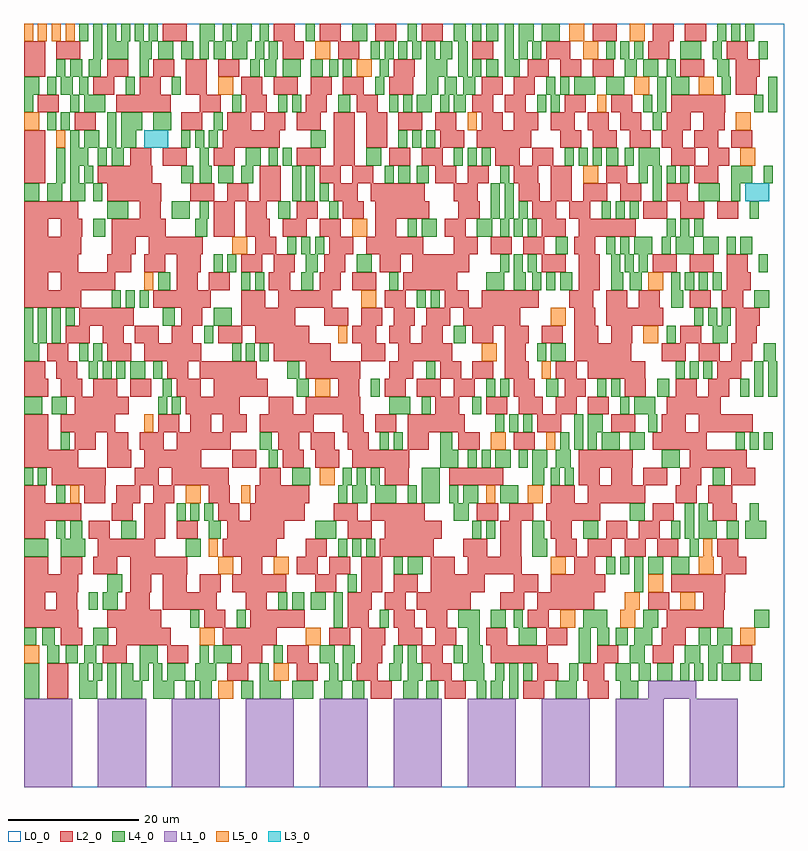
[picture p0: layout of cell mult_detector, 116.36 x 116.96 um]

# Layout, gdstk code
import gdstk
lib = gdstk.Library(unit=1e-6, precision=1e-09)
def R(c, l, rs):  # rectangles x0, y0, x1, y1
    for r in rs: c.add(gdstk.rectangle(r[:2], r[2:], *l))
def A(c, l, x, y, w, h, nx, ny, dx, dy):  # array of equal rectangles
    R(c, l, [(x+i*dx, y+j*dy, x+i*dx+w, y+j*dy+h) for i in range(nx) for j in range(ny)])
L0_0 = (0, 0)
L1_0 = (1, 0)
L2_0 = (2, 0)
L3_0 = (3, 0)
L4_0 = (4, 0)
L5_0 = (5, 0)

mult_detector = lib.new_cell('mult_detector')
R(mult_detector, L0_0, [(0,0,116.358,116.96)])
A(mult_detector, L1_0, 0, 2.72, 7.36, 2.72, 7, 4, 11.323, 2.72)
A(mult_detector, L1_0, 79.262, 2.72, 7.36, 2.72, 3, 4, 11.323, 2.72)
R(mult_detector, L1_0, [(0,0,7.36,2.72), (0,0,7.36,2.72), (0,0,7.36,2.72), (11.323,0,18.683,2.72), (11.323,0,18.683,2.72), (22.646,0,30.006,2.72), (22.646,0,30.006,2.72), (33.969,0,41.329,2.72), (33.969,0,41.329,2.72), (45.292,0,52.652,2.72), (45.292,0,52.652,2.72), (56.615,0,63.975,2.72), (56.615,0,63.975,2.72), (67.938,0,75.298,2.72), (67.938,0,75.298,2.72), (79.262,0,86.622,2.72), (79.262,0,86.622,2.72), (90.585,0,97.945,2.72), (90.585,0,97.945,2.72), (101.908,0,109.268,2.72), (101.908,0,109.268,2.72), (95.538,13.6,102.898,16.32)])
A(mult_detector, L2_0, 86.338, 13.6, 3.22, 2.72, 1, 3, 0, 43.52)
A(mult_detector, L2_0, 62.277, 29.92, 8.28, 2.72, 3, 1, 18.4, 0)
A(mult_detector, L2_0, 41.754, 32.64, 3.22, 2.72, 3, 1, 4.954, 0)
A(mult_detector, L2_0, 53.785, 54.4, 3.22, 2.72, 1, 3, 0, 29.92)
A(mult_detector, L2_0, 79.262, 68, 3.22, 2.72, 3, 1, 10.615, 0)
A(mult_detector, L2_0, 45.292, 76.16, 3.22, 2.72, 1, 3, 0, 8.16)
A(mult_detector, L2_0, 0, 92.48, 3.22, 2.72, 1, 3, 0, 2.72)
A(mult_detector, L2_0, 47.415, 95.2, 3.22, 2.72, 1, 3, 0, 2.72)
A(mult_detector, L2_0, 10.615, 106.08, 3.22, 2.72, 3, 1, 7.077, 0)
A(mult_detector, L2_0, 19.815, 108.8, 3.22, 2.72, 3, 1, 4.954, 0)
A(mult_detector, L2_0, 77.138, 108.8, 3.22, 2.72, 3, 1, 4.954, 0)
R(mult_detector, L2_0, [(3.538,13.6,6.758,16.32), (53.077,13.6,56.297,16.32), (64.4,13.6,67.62,16.32), (76.431,13.6,79.651,16.32), (3.538,16.32,6.758,19.04), (31.138,16.32,34.358,19.04), (41.754,16.32,44.974,19.04), (50.954,16.32,54.174,19.04), (62.277,16.32,65.497,19.04), (78.554,16.32,81.774,19.04), (85.631,16.32,88.851,19.04), (12.031,19.04,15.711,21.76), (21.938,19.04,25.158,21.76), (33.262,19.04,36.482,21.76), (40.338,19.04,43.558,21.76), (51.662,19.04,54.882,21.76), (60.862,19.04,64.082,21.76), (71.477,19.04,80.217,21.76), (87.754,19.04,90.974,21.76), (96.246,19.04,99.466,21.76), (108.277,19.04,111.497,21.76), (5.662,21.76,8.882,24.48), (14.154,21.76,22.434,24.48), (30.431,21.76,38.711,24.48), (46.708,21.76,49.928,24.48), (51.662,21.76,55.342,24.48), (57.323,21.76,61.003,24.48), (62.985,21.76,66.205,24.48), (70.769,21.76,73.989,24.48), (79.969,21.76,83.189,24.48), (97.662,21.76,101.342,24.48), (0,24.48,8.28,27.2), (12.738,24.48,21.018,27.2), (27.6,24.48,30.82,27.2), (34.677,24.48,42.957,27.2), (49.538,24.48,52.758,27.2), (56.615,24.48,59.835,27.2), (61.569,24.48,64.789,27.2), (77.138,24.48,80.358,27.2), (98.369,24.48,107.109,27.2), (0,27.2,3.22,29.92), (4.954,27.2,8.174,29.92), (15.569,27.2,19.249,29.92), (21.231,27.2,29.511,29.92), (33.969,27.2,37.189,29.92), (49.538,27.2,53.218,29.92), (55.2,27.2,58.42,29.92), (60.154,27.2,68.434,29.92), (72.892,27.2,76.572,29.92), (78.554,27.2,87.294,29.92), (95.538,27.2,98.758,29.92), (104.031,27.2,107.251,29.92), (0,29.92,8.28,32.64), (16.277,29.92,19.497,32.64), (21.231,29.92,24.911,32.64), (26.892,29.92,30.112,32.64), (31.846,29.92,40.126,32.64), (44.585,29.92,47.805,32.64), (51.662,29.92,54.882,32.64), (56.615,29.92,60.295,32.64), (75.015,29.92,78.695,32.64), (0,32.64,3.68,35.36), (5.662,32.64,8.882,35.36), (10.615,32.64,14.295,35.36), (16.277,32.64,25.017,35.36), (33.262,32.64,36.482,35.36), (62.277,32.64,65.957,35.36), (67.938,32.64,76.218,35.36), (84.215,32.64,87.435,35.36), (106.862,32.64,110.542,35.36), (11.323,35.36,20.063,38.08), (30.431,35.36,38.711,38.08), (43.169,35.36,46.389,38.08), (54.492,35.36,62.772,38.08), (67.231,35.36,70.911,38.08), (72.892,35.36,76.112,38.08), (81.385,35.36,84.605,38.08), (86.338,35.36,90.018,38.08), (92,35.36,95.22,38.08), (96.954,35.36,100.174,38.08), (106.154,35.36,109.374,38.08), (0,38.08,3.22,40.8), (9.908,38.08,13.128,40.8), (18.4,38.08,21.62,40.8), (23.354,38.08,26.574,40.8), (31.138,38.08,39.878,40.8), (49.538,38.08,53.218,40.8), (55.2,38.08,63.94,40.8), (72.892,38.08,76.112,40.8), (80.677,38.08,83.897,40.8), (89.169,38.08,92.389,40.8), (94.123,38.08,97.343,40.8), (0,40.8,8.74,43.52), (13.446,40.8,16.666,43.52), (18.4,40.8,21.62,43.52), (29.723,40.8,32.943,43.52), (34.677,40.8,42.957,43.52), (47.415,40.8,51.095,43.52), (53.077,40.8,61.357,43.52), (69.354,40.8,72.574,43.52), (74.308,40.8,77.988,43.52), (79.969,40.8,88.249,43.52), (96.246,40.8,99.466,43.52), (105.446,40.8,109.126,43.52), (0,43.52,3.22,46.24), (9.2,43.52,12.42,46.24), (14.154,43.52,17.834,46.24), (19.815,43.52,23.035,46.24), (28.308,43.52,31.528,46.24), (35.385,43.52,43.665,46.24), (80.677,43.52,84.357,46.24), (86.338,43.52,95.078,46.24), (99.785,43.52,103.005,46.24), (104.738,43.52,108.418,46.24), (4.246,46.24,12.526,48.96), (16.985,46.24,20.665,48.96), (22.646,46.24,31.386,48.96), (36.092,46.24,39.312,48.96), (55.2,46.24,58.88,48.96), (65.108,46.24,73.388,48.96), (84.923,46.24,88.143,48.96), (89.877,46.24,93.097,48.96), (94.831,46.24,98.511,48.96), (100.492,46.24,103.712,48.96), (108.277,46.24,111.957,48.96), (0,48.96,8.28,51.68), (12.738,48.96,16.418,51.68), (18.4,48.96,27.14,51.68), (31.846,48.96,35.526,51.68), (39.631,48.96,42.851,51.68), (44.585,48.96,48.265,51.68), (50.246,48.96,58.986,51.68), (84.923,48.96,93.203,51.68), (101.908,48.96,110.648,51.68), (0,51.68,3.68,54.4), (7.785,51.68,11.005,54.4), (12.738,51.68,15.958,54.4), (17.692,51.68,21.372,54.4), (23.354,51.68,31.634,54.4), (38.923,51.68,42.143,54.4), (43.877,51.68,47.557,54.4), (49.538,51.68,52.758,54.4), (58.738,51.68,61.958,54.4), (66.523,51.68,69.743,54.4), (75.015,51.68,78.235,54.4), (96.246,51.68,104.526,54.4), (0,54.4,3.68,57.12), (5.662,54.4,13.942,57.12), (20.523,54.4,23.743,57.12), (25.477,54.4,28.697,57.12), (30.431,54.4,34.111,57.12), (36.092,54.4,44.372,57.12), (48.831,54.4,52.051,57.12), (58.738,54.4,67.478,57.12), (78.554,54.4,82.234,57.12), (89.877,54.4,93.557,57.12), (97.662,54.4,101.342,57.12), (103.323,54.4,111.603,57.12), (7.785,57.12,16.065,59.84), (24.769,57.12,33.049,59.84), (37.508,57.12,41.188,59.84), (43.169,57.12,51.449,59.84), (62.985,57.12,66.665,59.84), (70.769,57.12,73.989,59.84), (75.723,57.12,79.403,59.84), (81.385,57.12,84.605,59.84), (98.369,57.12,106.649,59.84), (0,59.84,3.68,62.56), (5.662,59.84,8.882,62.56), (10.615,59.84,14.295,62.56), (16.277,59.84,19.497,62.56), (23.354,59.84,27.034,62.56), (29.015,59.84,37.295,62.56), (48.123,59.84,51.343,62.56), (55.2,59.84,58.42,62.56), (60.154,59.84,63.834,62.56), (65.815,59.84,69.035,62.56), (75.015,59.84,78.235,62.56), (82.8,59.84,86.02,62.56), (92,59.84,95.22,62.56), (99.785,59.84,103.005,62.56), (104.738,59.84,107.958,62.56), (0,62.56,3.22,65.28), (4.954,62.56,8.174,65.28), (21.938,62.56,25.158,65.28), (26.892,62.56,35.632,65.28), (43.169,62.56,51.449,65.28), (55.908,62.56,59.588,65.28), (63.692,62.56,66.912,65.28), (68.646,62.56,71.866,65.28), (73.6,62.56,77.28,65.28), (81.385,62.56,84.605,65.28), (86.338,62.56,95.078,65.28), (106.154,62.56,109.834,65.28), (3.538,65.28,6.758,68), (12.738,65.28,16.418,68), (18.4,65.28,27.14,68), (38.215,65.28,46.955,68), (51.662,65.28,55.342,68), (57.323,65.28,65.603,68), (73.6,65.28,76.82,68), (84.215,65.28,92.955,68), (97.662,65.28,101.342,68), (103.323,65.28,106.543,68), (108.277,65.28,111.497,68), (6.369,68,10.049,70.72), (12.031,68,15.251,70.72), (16.985,68,20.665,70.72), (22.646,68,25.866,70.72), (29.723,68,33.403,70.72), (35.385,68,43.665,70.72), (50.246,68,53.926,70.72), (55.908,68,59.128,70.72), (60.862,68,64.082,70.72), (68.646,68,71.866,70.72), (73.6,68,77.28,70.72), (84.215,68,87.895,70.72), (108.985,68,112.205,70.72), (8.492,70.72,16.772,73.44), (24.062,70.72,27.282,73.44), (33.262,70.72,41.542,73.44), (46,70.72,49.68,73.44), (51.662,70.72,54.882,73.44), (56.615,70.72,59.835,73.44), (61.569,70.72,65.249,73.44), (67.231,70.72,75.971,73.44), (84.215,70.72,87.435,73.44), (89.169,70.72,97.909,73.44), (108.985,70.72,112.665,73.44), (0,73.44,8.74,76.16), (19.815,73.44,28.555,76.16), (33.262,73.44,36.942,76.16), (38.923,73.44,47.203,76.16), (55.2,73.44,58.42,76.16), (64.4,73.44,68.08,76.16), (70.062,73.44,78.802,76.16), (83.508,73.44,87.188,76.16), (89.169,73.44,92.389,76.16), (94.123,73.44,97.343,76.16), (101.908,73.44,105.128,76.16), (106.862,73.44,110.082,76.16), (0,76.16,3.68,78.88), (5.662,76.16,13.942,78.88), (23.354,76.16,26.574,78.88), (28.308,76.16,31.528,78.88), (37.508,76.16,40.728,78.88), (50.246,76.16,53.926,78.88), (58.031,76.16,66.311,78.88), (84.923,76.16,88.143,78.88), (107.569,76.16,111.249,78.88), (0,78.88,8.28,81.6), (12.738,78.88,16.418,81.6), (18.4,78.88,21.62,81.6), (23.354,78.88,27.034,81.6), (33.262,78.88,36.482,81.6), (38.215,78.88,41.435,81.6), (46,78.88,49.22,81.6), (54.492,78.88,57.712,81.6), (59.446,78.88,68.186,81.6), (79.262,78.88,82.942,81.6), (84.923,78.88,88.143,81.6), (96.246,78.88,99.926,81.6), (101.908,78.88,105.588,81.6), (107.569,78.88,110.789,81.6), (0,81.6,8.74,84.32), (13.446,81.6,17.126,84.32), (19.108,81.6,27.388,84.32), (35.385,81.6,38.605,84.32), (46.708,81.6,50.388,84.32), (52.369,81.6,61.109,84.32), (65.815,81.6,69.495,84.32), (71.477,81.6,74.697,84.32), (76.431,81.6,79.651,84.32), (84.215,81.6,87.435,84.32), (0,84.32,3.68,87.04), (5.662,84.32,8.882,87.04), (13.446,84.32,21.726,87.04), (29.015,84.32,32.235,87.04), (33.969,84.32,37.649,87.04), (39.631,84.32,43.311,87.04), (64.4,84.32,67.62,87.04), (79.262,84.32,82.942,87.04), (84.923,84.32,93.663,87.04), (0,87.04,8.28,89.76), (17.692,87.04,20.912,89.76), (29.015,87.04,32.235,89.76), (33.969,87.04,37.189,89.76), (41.754,87.04,44.974,89.76), (48.831,87.04,52.051,89.76), (53.785,87.04,62.065,89.76), (66.523,87.04,69.743,89.76), (77.846,87.04,81.526,89.76), (83.508,87.04,86.728,89.76), (94.831,87.04,98.511,89.76), (100.492,87.04,104.172,89.76), (106.154,87.04,109.374,89.76), (12.738,89.76,21.018,92.48), (25.477,89.76,29.157,92.48), (31.138,89.76,34.358,92.48), (36.092,89.76,39.312,92.48), (47.415,89.76,51.095,92.48), (53.077,89.76,61.357,92.48), (65.815,89.76,69.495,92.48), (75.723,89.76,78.943,92.48), (80.677,89.76,83.897,92.48), (85.631,89.76,89.311,92.48), (91.292,89.76,94.512,92.48), (98.369,89.76,101.589,92.48), (11.323,92.48,19.603,95.2), (36.092,92.48,39.312,95.2), (50.246,92.48,53.466,95.2), (62.985,92.48,66.205,95.2), (67.938,92.48,71.158,95.2), (75.015,92.48,78.695,95.2), (80.677,92.48,83.897,95.2), (89.169,92.48,92.389,95.2), (102.615,92.48,106.295,95.2), (16.277,95.2,19.497,97.92), (21.231,95.2,24.911,97.92), (29.015,95.2,32.235,97.92), (41.754,95.2,45.434,97.92), (55.908,95.2,59.128,97.92), (60.862,95.2,64.082,97.92), (72.185,95.2,75.865,97.92), (77.846,95.2,81.066,97.92), (99.077,95.2,102.757,97.92), (104.738,95.2,107.958,97.92), (30.431,97.92,39.171,100.64), (52.369,97.92,55.589,100.64), (63.692,97.92,67.372,100.64), (69.354,97.92,77.634,100.64), (82.092,97.92,85.312,100.64), (87.046,97.92,90.726,100.64), (92.708,97.92,95.928,100.64), (97.662,97.92,100.882,100.64), (102.615,97.92,106.295,100.64), (108.277,97.92,111.497,100.64), (7.785,100.64,11.005,103.36), (24.062,100.64,27.282,103.36), (31.138,100.64,34.818,103.36), (36.8,100.64,40.02,103.36), (41.754,100.64,45.434,103.36), (52.369,100.64,55.589,103.36), (57.323,100.64,61.003,103.36), (62.985,100.64,66.205,103.36), (70.062,100.64,73.282,103.36), (75.015,100.64,78.695,103.36), (80.677,100.64,84.357,103.36), (91.292,100.64,94.512,103.36), (98.369,100.64,102.049,103.36), (104.031,100.64,107.251,103.36), (2.123,103.36,5.343,106.08), (14.154,103.36,22.434,106.08), (26.892,103.36,30.112,106.08), (33.969,103.36,37.189,106.08), (43.169,103.36,46.389,106.08), (50.954,103.36,54.174,106.08), (68.646,103.36,71.866,106.08), (73.6,103.36,76.82,106.08), (82.8,103.36,86.02,106.08), (89.877,103.36,93.097,106.08), (99.077,103.36,107.357,106.08), (33.262,106.08,36.482,108.8), (38.215,106.08,41.895,108.8), (43.877,106.08,47.097,108.8), (48.831,106.08,52.051,108.8), (55.908,106.08,59.588,108.8), (70.062,106.08,73.282,108.8), (75.015,106.08,78.235,108.8), (108.985,106.08,112.205,108.8), (0,108.8,3.22,111.52), (12.738,108.8,15.958,111.52), (56.615,108.8,59.835,111.52), (100.492,108.8,104.172,111.52), (108.985,108.8,112.665,111.52), (0,111.52,3.22,114.24), (4.954,111.52,8.634,114.24), (39.631,111.52,42.851,114.24), (48.123,111.52,51.343,114.24), (68.646,111.52,71.866,114.24), (79.969,111.52,83.649,114.24), (95.538,111.52,98.758,114.24), (107.569,111.52,110.789,114.24), (21.231,114.24,24.911,116.96), (38.215,114.24,41.435,116.96), (45.292,114.24,48.512,116.96), (60.862,114.24,64.082,116.96), (87.046,114.24,90.726,116.96), (96.246,114.24,99.466,116.96), (101.2,114.24,104.42,116.96)])
R(mult_detector, L3_0, [(110.4,89.76,114.08,92.48), (18.4,97.92,22.08,100.64)])
A(mult_detector, L4_0, 8.492, 16.32, 1.38, 2.72, 3, 2, 2.123, 97.92)
A(mult_detector, L4_0, 72.185, 16.32, 1.38, 2.72, 3, 2, 2.123, 38.08)
A(mult_detector, L4_0, 100.492, 16.32, 1.38, 2.72, 3, 1, 2.123, 0)
A(mult_detector, L4_0, 3.538, 19.04, 1.84, 2.72, 3, 1, 2.831, 0)
A(mult_detector, L4_0, 84.923, 21.76, 1.84, 2.72, 3, 1, 2.831, 0)
A(mult_detector, L4_0, 89.169, 32.64, 1.38, 2.72, 3, 2, 2.123, 78.88)
A(mult_detector, L4_0, 48.123, 35.36, 1.38, 2.72, 3, 1, 2.123, 0)
A(mult_detector, L4_0, 23.354, 40.8, 1.38, 2.72, 3, 1, 2.123, 0)
A(mult_detector, L4_0, 48.831, 46.24, 1.38, 2.72, 3, 1, 2.123, 0)
A(mult_detector, L4_0, 82.092, 51.68, 1.38, 2.72, 3, 1, 2.123, 0)
A(mult_detector, L4_0, 108.985, 51.68, 1.38, 2.72, 3, 1, 2.123, 0)
A(mult_detector, L4_0, 109.692, 59.84, 1.38, 2.72, 3, 1, 2.123, 0)
A(mult_detector, L4_0, 9.908, 62.56, 1.38, 2.72, 3, 1, 2.123, 0)
A(mult_detector, L4_0, 99.785, 62.56, 1.38, 2.72, 3, 1, 2.123, 0)
A(mult_detector, L4_0, 31.846, 65.28, 1.38, 2.72, 3, 1, 2.123, 0)
A(mult_detector, L4_0, 0, 68, 1.38, 2.72, 3, 1, 2.123, 0)
A(mult_detector, L4_0, 0, 70.72, 1.38, 2.72, 4, 1, 2.123, 0)
A(mult_detector, L4_0, 13.446, 73.44, 1.38, 2.72, 3, 1, 2.123, 0)
A(mult_detector, L4_0, 99.077, 76.16, 1.38, 2.72, 4, 1, 2.123, 0)
A(mult_detector, L4_0, 72.892, 78.88, 1.38, 2.72, 3, 2, 2.123, 5.44)
A(mult_detector, L4_0, 89.877, 78.88, 1.38, 2.72, 3, 1, 2.123, 0)
A(mult_detector, L4_0, 98.369, 84.32, 1.38, 2.72, 3, 1, 2.123, 0)
A(mult_detector, L4_0, 71.477, 87.04, 1.38, 2.72, 3, 1, 2.123, 0)
A(mult_detector, L4_0, 88.462, 87.04, 1.38, 2.72, 3, 1, 2.123, 0)
A(mult_detector, L4_0, 41.046, 89.76, 1.38, 2.72, 3, 1, 2.123, 0)
A(mult_detector, L4_0, 4.954, 92.48, 1.38, 2.72, 3, 1, 2.123, 0)
A(mult_detector, L4_0, 94.123, 92.48, 1.38, 2.72, 4, 1, 2.123, 0)
A(mult_detector, L4_0, 82.8, 95.2, 1.38, 2.72, 3, 1, 2.123, 0)
A(mult_detector, L4_0, 24.062, 97.92, 1.38, 2.72, 3, 1, 2.123, 0)
A(mult_detector, L4_0, 57.323, 97.92, 1.38, 2.72, 3, 1, 2.123, 0)
A(mult_detector, L4_0, 8.492, 106.08, 1.38, 2.72, 3, 1, 7.077, 0)
A(mult_detector, L4_0, 61.569, 106.08, 1.84, 2.72, 3, 1, 2.831, 0)
A(mult_detector, L4_0, 53.077, 111.52, 1.38, 2.72, 5, 1, 2.123, 0)
A(mult_detector, L4_0, 73.6, 111.52, 1.38, 2.72, 3, 1, 2.123, 0)
A(mult_detector, L4_0, 14.862, 114.24, 1.38, 2.72, 3, 1, 2.123, 0)
A(mult_detector, L4_0, 106.154, 114.24, 1.38, 2.72, 3, 1, 2.123, 0)
R(mult_detector, L4_0, [(0,13.6,2.3,16.32), (8.492,13.6,11.252,16.32), (12.738,13.6,14.118,16.32), (14.862,13.6,18.082,16.32), (19.815,13.6,23.035,16.32), (24.769,13.6,26.149,16.32), (26.892,13.6,28.732,16.32), (33.262,13.6,35.102,16.32), (36.092,13.6,39.312,16.32), (41.046,13.6,44.266,16.32), (46,13.6,48.76,16.32), (50.246,13.6,52.086,16.32), (58.031,13.6,60.331,16.32), (61.569,13.6,63.409,16.32), (69.354,13.6,70.734,16.32), (71.477,13.6,73.317,16.32), (74.308,13.6,75.688,16.32), (81.385,13.6,84.605,16.32), (91.292,13.6,94.052,16.32), (0,16.32,2.3,19.04), (14.862,16.32,16.702,19.04), (17.692,16.32,19.072,19.04), (19.815,16.32,21.195,19.04), (21.938,16.32,24.698,19.04), (26.185,16.32,29.405,19.04), (36.092,16.32,37.472,19.04), (46.708,16.32,48.088,19.04), (48.831,16.32,50.211,19.04), (55.908,16.32,57.748,19.04), (58.738,16.32,61.038,19.04), (67.231,16.32,70.451,19.04), (83.508,16.32,84.888,19.04), (90.585,16.32,92.885,19.04), (94.123,16.32,95.963,19.04), (96.954,16.32,99.254,19.04), (106.862,16.32,109.622,19.04), (111.108,16.32,112.948,19.04), (17.692,19.04,20.452,21.76), (26.892,19.04,28.272,21.76), (29.015,19.04,31.775,21.76), (38.215,19.04,39.595,21.76), (45.292,19.04,47.592,21.76), (48.831,19.04,50.671,21.76), (56.615,19.04,57.995,21.76), (58.738,19.04,60.118,21.76), (65.815,19.04,67.195,21.76), (67.938,19.04,70.238,21.76), (84.923,19.04,86.763,21.76), (92.708,19.04,95.008,21.76), (101.2,19.04,103.5,21.76), (104.738,19.04,107.038,21.76), (0,21.76,1.84,24.48), (2.831,21.76,4.671,24.48), (10.615,21.76,12.915,24.48), (67.938,21.76,69.778,24.48), (75.723,21.76,78.483,24.48), (93.415,21.76,96.175,24.48), (103.323,21.76,105.163,24.48), (106.154,21.76,108.454,24.48), (25.477,24.48,26.857,27.2), (32.554,24.48,33.934,27.2), (47.415,24.48,48.795,27.2), (54.492,24.48,55.872,27.2), (66.523,24.48,69.743,27.2), (71.477,24.48,73.777,27.2), (75.015,24.48,76.395,27.2), (85.631,24.48,89.311,27.2), (94.831,24.48,97.131,27.2), (111.815,24.48,114.115,27.2), (9.908,27.2,11.288,29.92), (12.031,27.2,14.331,29.92), (38.923,27.2,40.303,29.92), (41.046,27.2,42.886,29.92), (43.877,27.2,46.177,29.92), (47.415,27.2,48.795,29.92), (12.738,29.92,15.038,32.64), (49.538,29.92,50.918,32.64), (93.415,29.92,94.795,32.64), (56.615,32.64,57.995,35.36), (58.738,32.64,61.038,35.36), (95.538,32.64,97.838,35.36), (99.077,32.64,101.837,35.36), (0,35.36,3.68,38.08), (5.662,35.36,9.342,38.08), (24.769,35.36,27.069,38.08), (77.846,35.36,80.146,38.08), (101.908,35.36,103.288,38.08), (4.954,38.08,6.334,40.8), (7.077,38.08,8.917,40.8), (14.862,38.08,17.162,40.8), (28.308,38.08,30.148,40.8), (44.585,38.08,47.805,40.8), (68.646,38.08,70.026,40.8), (70.769,38.08,72.149,40.8), (77.846,38.08,79.686,40.8), (85.631,38.08,87.931,40.8), (99.077,38.08,100.457,40.8), (101.2,38.08,102.58,40.8), (103.323,38.08,106.083,40.8), (107.569,38.08,109.409,40.8), (110.4,38.08,113.62,40.8), (65.815,40.8,68.115,43.52), (92.708,40.8,95.008,43.52), (101.2,40.8,102.58,43.52), (103.323,40.8,104.703,43.52), (111.108,40.8,112.488,43.52), (4.954,43.52,6.334,46.24), (48.123,43.52,49.503,46.24), (50.246,43.52,52.546,46.24), (53.785,43.52,57.005,46.24), (58.738,43.52,60.118,46.24), (60.862,43.52,63.622,46.24), (65.108,43.52,66.488,46.24), (67.231,43.52,69.531,46.24), (72.892,43.52,75.652,46.24), (0,46.24,1.38,48.96), (2.123,46.24,3.503,48.96), (41.046,46.24,43.806,48.96), (60.862,46.24,63.622,48.96), (77.846,46.24,79.686,48.96), (80.677,46.24,82.057,48.96), (82.8,46.24,84.18,48.96), (105.446,46.24,107.286,48.96), (37.508,48.96,38.888,51.68), (63.692,48.96,66.452,51.68), (67.938,48.96,69.318,51.68), (70.062,48.96,71.442,51.68), (72.185,48.96,74.485,51.68), (75.723,48.96,77.103,51.68), (77.846,48.96,80.146,51.68), (81.385,48.96,83.685,51.68), (97.662,48.96,100.422,51.68), (5.662,51.68,7.042,54.4), (36.092,51.68,37.932,54.4), (54.492,51.68,55.872,54.4), (56.615,51.68,57.995,54.4), (63.692,51.68,65.532,54.4), (88.462,51.68,91.222,54.4), (92.708,51.68,95.008,54.4), (84.215,54.4,85.595,57.12), (86.338,54.4,88.638,57.12), (95.538,54.4,96.918,57.12), (0,57.12,2.76,59.84), (4.246,57.12,6.546,59.84), (20.523,57.12,21.903,59.84), (22.646,57.12,24.026,59.84), (55.908,57.12,59.128,59.84), (60.862,57.12,62.242,59.84), (68.646,57.12,70.026,59.84), (91.292,57.12,92.672,59.84), (93.415,57.12,96.635,59.84), (21.231,59.84,22.611,62.56), (41.754,59.84,43.594,62.56), (53.077,59.84,54.457,62.56), (70.769,59.84,72.149,62.56), (72.892,59.84,74.272,62.56), (79.969,59.84,81.809,62.56), (87.754,59.84,89.134,62.56), (89.877,59.84,91.257,62.56), (96.954,59.84,98.794,62.56), (16.277,62.56,18.577,65.28), (19.815,62.56,21.195,65.28), (40.338,62.56,42.178,65.28), (61.569,62.56,62.949,65.28), (111.815,62.56,113.195,65.28), (113.938,62.56,115.318,65.28), (0,65.28,2.3,68), (8.492,65.28,9.872,68), (10.615,65.28,11.995,68), (78.554,65.28,79.934,68), (80.677,65.28,82.977,68), (113.231,65.28,115.071,68), (27.6,68,28.98,70.72), (65.815,68,67.655,70.72), (98.369,68,99.749,70.72), (105.446,68,107.746,70.72), (21.231,70.72,23.071,73.44), (29.015,70.72,31.775,73.44), (102.615,70.72,103.995,73.44), (104.738,70.72,106.118,73.44), (106.862,70.72,108.242,73.44), (60.154,73.44,61.534,76.16), (62.277,73.44,63.657,76.16), (99.077,73.44,100.917,76.16), (111.815,73.44,114.115,76.16), (20.523,76.16,22.363,78.88), (33.262,76.16,34.642,78.88), (35.385,76.16,36.765,78.88), (42.462,76.16,44.302,78.88), (55.908,76.16,57.288,78.88), (70.769,76.16,73.529,78.88), (75.015,76.16,76.855,78.88), (77.846,76.16,79.226,78.88), (79.969,76.16,81.349,78.88), (82.092,76.16,83.932,78.88), (89.877,76.16,91.717,78.88), (92.708,76.16,94.548,78.88), (29.015,78.88,30.395,81.6), (31.138,78.88,32.518,81.6), (43.169,78.88,45.009,81.6), (50.954,78.88,53.254,81.6), (112.523,78.88,113.903,81.6), (40.338,81.6,41.718,84.32), (42.462,81.6,43.842,84.32), (44.585,81.6,45.965,84.32), (81.385,81.6,83.225,84.32), (89.169,81.6,90.549,84.32), (91.292,81.6,92.672,84.32), (93.415,81.6,96.175,84.32), (97.662,81.6,99.042,84.32), (99.785,81.6,102.545,84.32), (104.031,81.6,106.331,84.32), (107.569,81.6,108.949,84.32), (109.692,81.6,111.532,84.32), (10.615,84.32,12.455,87.04), (26.185,84.32,28.025,87.04), (58.738,84.32,60.118,87.04), (60.862,84.32,63.162,87.04), (69.354,84.32,71.654,87.04), (12.738,87.04,15.958,89.76), (22.646,87.04,25.406,89.76), (26.892,87.04,28.272,89.76), (38.923,87.04,40.763,89.76), (46.708,87.04,48.088,89.76), (111.108,87.04,112.488,89.76), (0,89.76,2.3,92.48), (3.538,89.76,5.838,92.48), (7.077,89.76,9.377,92.48), (10.615,89.76,11.995,92.48), (71.477,89.76,72.857,92.48), (73.6,89.76,74.98,92.48), (96.246,89.76,97.626,92.48), (103.323,89.76,106.543,92.48), (108.277,89.76,109.657,92.48), (24.062,92.48,25.902,95.2), (26.892,92.48,28.732,95.2), (29.723,92.48,32.023,95.2), (33.262,92.48,35.102,95.2), (41.046,92.48,42.426,95.2), (43.169,92.48,44.549,95.2), (55.2,92.48,56.58,95.2), (57.323,92.48,59.163,95.2), (60.154,92.48,61.994,95.2), (72.892,92.48,74.272,95.2), (108.277,92.48,111.497,95.2), (113.231,92.48,114.611,95.2), (4.954,95.2,6.334,97.92), (7.077,95.2,9.837,97.92), (11.323,95.2,12.703,97.92), (13.446,95.2,15.286,97.92), (26.892,95.2,28.272,97.92), (33.969,95.2,36.269,97.92), (37.508,95.2,38.888,97.92), (39.631,95.2,41.011,97.92), (52.369,95.2,54.669,97.92), (65.815,95.2,67.195,97.92), (67.938,95.2,69.318,97.92), (70.062,95.2,71.442,97.92), (89.169,95.2,91.009,97.92), (92,95.2,93.38,97.92), (94.123,95.2,97.343,97.92), (7.077,97.92,8.457,100.64), (9.2,97.92,11.5,100.64), (12.738,97.92,14.118,100.64), (14.862,97.92,17.162,100.64), (43.877,97.92,46.177,100.64), (3.538,100.64,4.918,103.36), (5.662,100.64,7.042,103.36), (12.738,100.64,14.118,103.36), (14.862,100.64,18.082,103.36), (19.815,100.64,22.575,103.36), (29.015,100.64,30.395,103.36), (96.246,100.64,97.626,103.36), (0,103.36,1.38,106.08), (7.077,103.36,8.457,106.08), (9.2,103.36,12.42,106.08), (31.846,103.36,33.226,106.08), (38.923,103.36,40.303,106.08), (41.046,103.36,42.426,106.08), (48.123,103.36,49.963,106.08), (55.908,103.36,57.288,106.08), (58.031,103.36,59.411,106.08), (60.154,103.36,62.454,106.08), (63.692,103.36,65.072,106.08), (65.815,103.36,67.655,106.08), (78.554,103.36,79.934,106.08), (80.677,103.36,82.057,106.08), (94.831,103.36,96.211,106.08), (96.954,103.36,98.334,106.08), (111.815,103.36,113.195,106.08), (113.938,103.36,115.318,106.08), (0,106.08,2.3,108.8), (3.538,106.08,4.918,108.8), (5.662,106.08,7.502,108.8), (53.785,106.08,55.165,108.8), (79.969,106.08,81.349,108.8), (82.092,106.08,83.472,108.8), (84.215,106.08,87.435,108.8), (89.169,106.08,91.929,108.8), (96.954,106.08,98.334,108.8), (99.077,106.08,101.837,108.8), (106.862,106.08,108.242,108.8), (113.938,106.08,115.318,108.8), (4.954,108.8,6.334,111.52), (7.077,108.8,8.917,111.52), (9.908,108.8,11.748,111.52), (17.692,108.8,19.072,111.52), (34.677,108.8,36.057,111.52), (36.8,108.8,38.64,111.52), (39.631,108.8,42.391,111.52), (43.877,108.8,45.717,111.52), (46.708,108.8,48.088,111.52), (48.831,108.8,50.211,111.52), (54.492,108.8,55.872,111.52), (61.569,108.8,64.789,111.52), (66.523,108.8,67.903,111.52), (68.646,108.8,70.026,111.52), (70.769,108.8,72.609,111.52), (73.6,108.8,75.9,111.52), (92,108.8,93.84,111.52), (94.831,108.8,97.131,111.52), (98.369,108.8,99.749,111.52), (106.154,108.8,107.994,111.52), (10.615,111.52,11.995,114.24), (12.738,111.52,15.958,114.24), (17.692,111.52,19.532,114.24), (20.523,111.52,22.823,114.24), (24.062,111.52,25.902,114.24), (26.892,111.52,28.272,114.24), (29.015,111.52,30.855,114.24), (31.846,111.52,34.146,114.24), (35.385,111.52,36.765,114.24), (37.508,111.52,38.888,114.24), (63.692,111.52,65.532,114.24), (66.523,111.52,67.903,114.24), (100.492,111.52,103.712,114.24), (105.446,111.52,106.826,114.24), (112.523,111.52,113.903,114.24), (26.892,114.24,29.192,116.96), (30.431,114.24,31.811,116.96), (32.554,114.24,34.854,116.96), (36.092,114.24,37.472,116.96), (43.169,114.24,44.549,116.96), (50.246,114.24,52.546,116.96), (58.738,114.24,60.118,116.96), (65.815,114.24,67.655,116.96), (68.646,114.24,70.026,116.96), (70.769,114.24,72.609,116.96), (73.6,114.24,74.98,116.96), (75.723,114.24,78.023,116.96), (79.262,114.24,82.022,116.96)])
A(mult_detector, L5_0, 0, 114.24, 1.38, 2.72, 4, 1, 2.123, 0)
R(mult_detector, L5_0, [(29.723,13.6,32.023,16.32), (38.215,16.32,40.515,19.04), (0,19.04,2.3,21.76), (26.892,21.76,29.192,24.48), (43.169,21.76,45.469,24.48), (109.692,21.76,111.992,24.48), (82.092,24.48,84.392,27.2), (91.292,24.48,93.592,27.2), (92,27.2,94.3,29.92), (100.492,27.2,102.792,29.92), (95.538,29.92,97.838,32.64), (29.723,32.64,32.023,35.36), (38.215,32.64,40.515,35.36), (80.677,32.64,82.977,35.36), (103.323,32.64,105.623,35.36), (28.308,35.36,29.688,38.08), (104.031,35.36,105.411,38.08), (7.077,43.52,8.457,46.24), (24.769,43.52,27.069,46.24), (33.262,43.52,34.642,46.24), (70.769,43.52,72.149,46.24), (77.138,43.52,79.438,46.24), (45.292,46.24,47.592,48.96), (71.477,51.68,73.777,54.4), (79.969,51.68,81.349,54.4), (18.4,54.4,19.78,57.12), (44.585,59.84,46.885,62.56), (79.262,62.56,80.642,65.28), (70.062,65.28,72.362,68), (48.123,68,49.503,70.72), (94.831,68,97.131,70.72), (80.677,70.72,82.977,73.44), (51.662,73.44,53.962,76.16), (18.4,76.16,19.78,78.88), (95.538,76.16,97.838,78.88), (31.846,81.6,34.146,84.32), (50.246,84.32,52.546,87.04), (85.631,92.48,87.931,95.2), (109.692,95.2,111.992,97.92), (4.954,97.92,6.334,100.64), (0,100.64,2.3,103.36), (67.938,100.64,69.318,103.36), (108.985,100.64,111.285,103.36), (87.754,103.36,89.134,106.08), (29.723,106.08,32.023,108.8), (93.415,106.08,95.715,108.8), (103.323,106.08,105.623,108.8), (50.954,108.8,53.254,111.52), (44.585,111.52,46.885,114.24), (85.631,111.52,87.931,114.24), (83.508,114.24,85.808,116.96), (92.708,114.24,95.008,116.96)])

lib.write_gds('mult_detector.gds')
